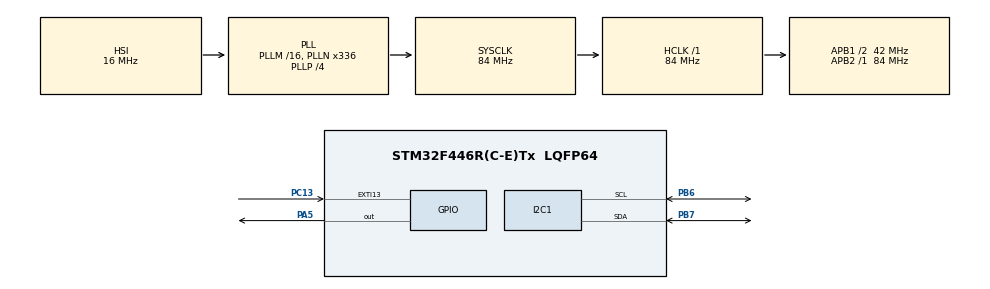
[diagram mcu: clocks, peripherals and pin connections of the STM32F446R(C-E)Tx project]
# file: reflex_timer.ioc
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Mcu.Family=STM32F4
Mcu.Name=STM32F446R(C-E)Tx
Mcu.Package=LQFP64
NUCLEO-F446RE.BUTTON=1
NUCLEO-F446RE.LD1=true
NVIC.EXTI15_10_IRQn=true\:0\:0\:false\:false\:true\:false\:true\:true
NVIC.PriorityGroup=NVIC_PRIORITYGROUP_0
PA13.GPIO_Label=TMS
PA13.Signal=SYS_JTMS-SWDIO
PA14.GPIO_Label=TCK
PA14.Signal=SYS_JTCK-SWCLK
PA2.GPIO_Label=USART_TX
PA2.Signal=USART2_TX
PA3.GPIO_Label=USART_RX
PA3.Signal=USART2_RX
PA5.Signal=GPIO_Output
PB3.GPIO_Label=SWO
PB3.Signal=SYS_JTDO-SWO
PB6.Mode=I2C
PB6.Signal=I2C1_SCL
PB7.Mode=I2C
PB7.Signal=I2C1_SDA
PC13.Signal=GPXTI13
PC14-OSC32_IN.Signal=RCC_OSC32_IN
PC15-OSC32_OUT.Signal=RCC_OSC32_OUT
PH0-OSC_IN.Signal=RCC_OSC_IN
PH1-OSC_OUT.Signal=RCC_OSC_OUT
ProjectManager.HeapSize=0x200
ProjectManager.StackSize=0x400
ProjectManager.TargetToolchain=STM32CubeIDE
RCC.AHBFreq_Value=84000000
RCC.APB1CLKDivider=RCC_HCLK_DIV2
RCC.APB1Freq_Value=42000000
RCC.APB1TimFreq_Value=84000000
RCC.APB2Freq_Value=84000000
RCC.APB2TimFreq_Value=84000000
RCC.CortexFreq_Value=84000000
RCC.FLatency-AdvancedSettings=FLASH_LATENCY_2
RCC.HCLKFreq_Value=84000000
RCC.HSE_VALUE=8000000
RCC.HSI_VALUE=16000000
RCC.LSE_VALUE=32768
RCC.PLLN=336
RCC.PLLP=RCC_PLLP_DIV4
RCC.SYSCLKFreq_VALUE=84000000
RCC.SYSCLKSource=RCC_SYSCLKSOURCE_PLLCLK
RCC.USBFreq_Value=168000000
RCC.VCOOutputFreq_Value=336000000
TIM10.Prescaler=8400 - 1
VP_NUCLEO-F446RE_VS_BSP_COMMON.Mode=COMMON
VP_TIM10_VS_ClockSourceINT.Mode=Enable_Timer
board=NUCLEO-F446RE

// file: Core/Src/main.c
/* USER CODE BEGIN Header */
/**
  ******************************************************************************
  * @file           : main.c
  * @brief          : Main program body
  ******************************************************************************
  * @attention
  *
  * Copyright (c) 2026 STMicroelectronics.
  * All rights reserved.
  *
  * This software is licensed under terms that can be found in the LICENSE file
  * in the root directory of this software component.
  * If no LICENSE file comes with this software, it is provided AS-IS.
  *
  ******************************************************************************
  */
/* USER CODE END Header */
#include "main.h"

/* USER CODE BEGIN Includes */
#include <stdio.h>
#include <stdlib.h>
#include "ssd1306.h"
#include "ssd1306_tests.h"
#include "ssd1306_fonts.h"
/* USER CODE END Includes */

I2C_HandleTypeDef hi2c1;

TIM_HandleTypeDef htim10;

/* USER CODE BEGIN PV */

uint16_t timer_val;
int mode = 2;
int flag = 0;
int counter = 0;
float best_time_s = 65500;
float total_time_s = 0;
float avg_time_s;
SSD1306_COLOR color = White;

/* USER CODE END PV */

void SystemClock_Config(void);
static void MX_GPIO_Init(void);
static void MX_TIM10_Init(void);
static void MX_I2C1_Init(void);

/* USER CODE BEGIN 0 */

void HAL_GPIO_EXTI_Callback(uint16_t GPIO_Pin) {
	if (flag == 0) {
		  mode = 0;
	}
	else if (flag == 1) {
		  mode = 1;
	}
}

/* USER CODE END 0 */

int main(void)
{

  /* MCU Configuration--------------------------------------------------------*/

  /* Reset of all peripherals, Initializes the Flash interface and the Systick. */
  HAL_Init();

  /* Configure the system clock */
  SystemClock_Config();

  /* Initialize all configured peripherals */
  MX_GPIO_Init();
  MX_TIM10_Init();
  MX_I2C1_Init();
  /* USER CODE BEGIN 2 */
  ssd1306_Init();

  ssd1306_Fill(Black);
  char* msg = "REFLEX TIME TESTER";
  ssd1306_SetCursor(0, 20);
  ssd1306_WriteString(msg, Font_7x10, color);

  msg = "Press button to start";
  ssd1306_SetCursor(0, 45);
  ssd1306_WriteString(msg, Font_6x8, color);
  ssd1306_UpdateScreen();

  /* USER CODE END 2 */

  /* Initialize leds */
  BSP_LED_Init(LED2);

  /* Initialize USER push-button, will be used to trigger an interrupt each time it's pressed.*/
  BSP_PB_Init(BUTTON_USER, BUTTON_MODE_EXTI);

  /* Infinite loop */
  /* USER CODE BEGIN WHILE */

  srand(HAL_GetTick());
  while (1)
  {
	if (mode == 0) {
		  char* msg2 = "Wait for 'NOW'...";
		  ssd1306_Fill(Black);
		  ssd1306_SetCursor(0, 5);
		  ssd1306_WriteString(msg2, Font_6x8, color);
		  ssd1306_UpdateScreen();

		  msg2 = "NOW";
		  ssd1306_Fill(Black);
		  ssd1306_SetCursor(40, 20);
		  ssd1306_WriteString(msg2, Font_16x24, color);
		  HAL_Delay(rand() % 3000 + 1000);
		  ssd1306_UpdateScreen();
		  mode = 2;
		  flag = 1;
		  __HAL_TIM_SET_COUNTER(&htim10, 0);
		  HAL_TIM_Base_Start(&htim10);
	}
	else if (mode == 1) {
		  timer_val = __HAL_TIM_GET_COUNTER(&htim10);
		  HAL_TIM_Base_Stop(&htim10);

		  float divider = 10000;
		  float timer_s = timer_val / divider;
		  total_time_s += timer_s;
		  avg_time_s = total_time_s / (counter + 1);

		  if (timer_s < best_time_s) {
			  best_time_s = timer_s;
		  }
		  char msg[64];
		  ssd1306_Fill(Black);

		  sprintf(msg, "Curr time: %.5f s", timer_s);
		  ssd1306_SetCursor(0, 0);
		  ssd1306_WriteString(msg, Font_6x8, color);

		  sprintf(msg, "Best time: %.5f s", best_time_s);
		  ssd1306_SetCursor(0, 15);
		  ssd1306_WriteString(msg, Font_6x8, color);

		  sprintf(msg, "Avg time: %.5f s", avg_time_s);
		  ssd1306_SetCursor(0, 30);
		  ssd1306_WriteString(msg, Font_6x8, color);

		  sprintf(msg, "Press button to retry");
		  ssd1306_SetCursor(0, 52);
		  ssd1306_WriteString(msg, Font_6x8, color);

		  ssd1306_UpdateScreen();

		  counter++;
		  mode = 2;
		  flag = 0;
	}
	else {

	}

    /* USER CODE END WHILE */

  }
}

void SystemClock_Config(void)
{
  RCC_OscInitTypeDef RCC_OscInitStruct = {0};
  RCC_ClkInitTypeDef RCC_ClkInitStruct = {0};

  /** Configure the main internal regulator output voltage
  */
  __HAL_RCC_PWR_CLK_ENABLE();
  __HAL_PWR_VOLTAGESCALING_CONFIG(PWR_REGULATOR_VOLTAGE_SCALE3);

  /** Initializes the RCC Oscillators according to the specified parameters
  * in the RCC_OscInitTypeDef structure.
  */
  RCC_OscInitStruct.OscillatorType = RCC_OSCILLATORTYPE_HSI;
  RCC_OscInitStruct.HSIState = RCC_HSI_ON;
  RCC_OscInitStruct.HSICalibrationValue = RCC_HSICALIBRATION_DEFAULT;
  RCC_OscInitStruct.PLL.PLLState = RCC_PLL_ON;
  RCC_OscInitStruct.PLL.PLLSource = RCC_PLLSOURCE_HSI;
  RCC_OscInitStruct.PLL.PLLM = 16;
  RCC_OscInitStruct.PLL.PLLN = 336;
  RCC_OscInitStruct.PLL.PLLP = RCC_PLLP_DIV4;
  RCC_OscInitStruct.PLL.PLLQ = 2;
  RCC_OscInitStruct.PLL.PLLR = 2;
  if (HAL_RCC_OscConfig(&RCC_OscInitStruct) != HAL_OK)
  {
    Error_Handler();
  }

  /** Initializes the CPU, AHB and APB buses clocks
  */
  RCC_ClkInitStruct.ClockType = RCC_CLOCKTYPE_HCLK|RCC_CLOCKTYPE_SYSCLK
                              |RCC_CLOCKTYPE_PCLK1|RCC_CLOCKTYPE_PCLK2;
  RCC_ClkInitStruct.SYSCLKSource = RCC_SYSCLKSOURCE_PLLCLK;
  RCC_ClkInitStruct.AHBCLKDivider = RCC_SYSCLK_DIV1;
  RCC_ClkInitStruct.APB1CLKDivider = RCC_HCLK_DIV2;
  RCC_ClkInitStruct.APB2CLKDivider = RCC_HCLK_DIV1;

  if (HAL_RCC_ClockConfig(&RCC_ClkInitStruct, FLASH_LATENCY_2) != HAL_OK)
  {
    Error_Handler();
  }
}

static void MX_I2C1_Init(void)
{

  hi2c1.Instance = I2C1;
  hi2c1.Init.ClockSpeed = 100000;
  hi2c1.Init.DutyCycle = I2C_DUTYCYCLE_2;
  hi2c1.Init.OwnAddress1 = 0;
  hi2c1.Init.AddressingMode = I2C_ADDRESSINGMODE_7BIT;
  hi2c1.Init.DualAddressMode = I2C_DUALADDRESS_DISABLE;
  hi2c1.Init.OwnAddress2 = 0;
  hi2c1.Init.GeneralCallMode = I2C_GENERALCALL_DISABLE;
  hi2c1.Init.NoStretchMode = I2C_NOSTRETCH_DISABLE;
  if (HAL_I2C_Init(&hi2c1) != HAL_OK)
  {
    Error_Handler();
  }

}

static void MX_TIM10_Init(void)
{

  htim10.Instance = TIM10;
  htim10.Init.Prescaler = 8400 - 1;
  htim10.Init.CounterMode = TIM_COUNTERMODE_UP;
  htim10.Init.Period = 65535;
  htim10.Init.ClockDivision = TIM_CLOCKDIVISION_DIV1;
  htim10.Init.AutoReloadPreload = TIM_AUTORELOAD_PRELOAD_DISABLE;
  if (HAL_TIM_Base_Init(&htim10) != HAL_OK)
  {
    Error_Handler();
  }

}

static void MX_GPIO_Init(void)
{
  GPIO_InitTypeDef GPIO_InitStruct = {0};

  /* GPIO Ports Clock Enable */
  __HAL_RCC_GPIOC_CLK_ENABLE();
  __HAL_RCC_GPIOH_CLK_ENABLE();
  __HAL_RCC_GPIOA_CLK_ENABLE();
  __HAL_RCC_GPIOB_CLK_ENABLE();

  /*Configure GPIO pins : USART_TX_Pin USART_RX_Pin */
  GPIO_InitStruct.Pin = USART_TX_Pin|USART_RX_Pin;
  GPIO_InitStruct.Mode = GPIO_MODE_AF_PP;
  GPIO_InitStruct.Pull = GPIO_NOPULL;
  GPIO_InitStruct.Speed = GPIO_SPEED_FREQ_VERY_HIGH;
  GPIO_InitStruct.Alternate = GPIO_AF7_USART2;
  HAL_GPIO_Init(GPIOA, &GPIO_InitStruct);

}

void Error_Handler(void)
{
  __disable_irq();
  while (1)
  {
  }
}
